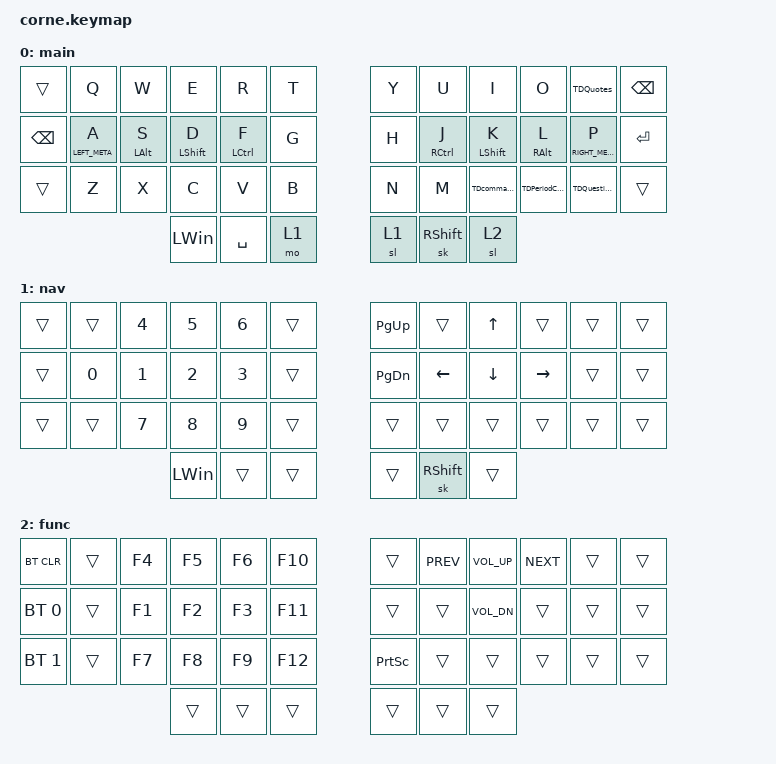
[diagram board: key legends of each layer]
/*
 * Copyright 2024 Michał Minarowski (@n3oney)
 * 
 * Originally created for QMK by Mark Stosberg (@markstos)
 * 
 * SPDX-License-Identifier: GPL-2.0-or-later
 */

#include <dt-bindings/zmk/mouse.h>
#include <behaviors.dtsi>
#include <dt-bindings/zmk/bt.h>
#include <dt-bindings/zmk/keys.h>

/ {
    combos {
        compatible = "zmk,combos";

        Backspace {
            bindings = <&kp BACKSPACE>;
            key-positions = <7 8>;
            require-prior-idle-ms = <150>;
            timeout-ms = <50>;
        };

        underscore {
            bindings = <&kp UNDER>;
            key-positions = <18 30>;
            require-prior-idle-ms = <150>;
            timeout-ms = <50>;
        };

        caret {
            bindings = <&kp CARET>;
            key-positions = <6 18>;
            require-prior-idle-ms = <150>;
            timeout-ms = <50>;
        };

        plus {
            bindings = <&kp PLUS>;
            key-positions = <7 19>;
            timeout-ms = <50>;
            require-prior-idle-ms = <150>;
        };

        minus {
            bindings = <&kp MINUS>;
            key-positions = <19 31>;
            timeout-ms = <50>;
            require-prior-idle-ms = <150>;
        };

        asterik {
            bindings = <&kp ASTERISK>;
            key-positions = <20 8>;
            timeout-ms = <50>;
            require-prior-idle-ms = <150>;
        };

        slash {
            bindings = <&kp SLASH>;
            key-positions = <20 32>;
            timeout-ms = <50>;
            require-prior-idle-ms = <150>;
        };

        ampersand {
            bindings = <&kp AMPERSAND>;
            key-positions = <9 21>;
            timeout-ms = <50>;
            require-prior-idle-ms = <150>;
        };

        vbar {
            bindings = <&kp PIPE>;
            key-positions = <22 34>;
            timeout-ms = <50>;
            require-prior-idle-ms = <150>;
        };

        LParLT {
            bindings = <&LParLT>;
            key-positions = <19 20>;
            timeout-ms = <50>;
            require-prior-idle-ms = <150>;
        };

        RParGT {
            bindings = <&RParGT>;
            key-positions = <20 21>;
            timeout-ms = <50>;
            require-prior-idle-ms = <150>;
        };

        LBrackets {
            bindings = <&LBrackets>;
            key-positions = <31 32>;
            timeout-ms = <50>;
            require-prior-idle-ms = <150>;
        };

        RBrackets {
            bindings = <&RBrackets>;
            key-positions = <33 32>;
            timeout-ms = <50>;
            require-prior-idle-ms = <150>;
        };

        Escape {
            bindings = <&kp ESCAPE>;
            key-positions = <8 9>;
            timeout-ms = <50>;
            require-prior-idle-ms = <150>;
        };

        Copy {
            bindings = <&kp LC(C)>;
            key-positions = <26 27>;
            timeout-ms = <50>;
            require-prior-idle-ms = <150>;
        };

        Paste {
            bindings = <&kp LC(V)>;
            key-positions = <27 28>;
            timeout-ms = <50>;
            require-prior-idle-ms = <150>;
        };

        Tab {
            bindings = <&kp TAB>;
            key-positions = <14 13>;
            timeout-ms = <50>;
            require-prior-idle-ms = <150>;
        };

        Cut {
            bindings = <&kp LC(X)>;
            key-positions = <28 26>;
            timeout-ms = <50>;
            require-prior-idle-ms = <150>;
        };

        at {
            bindings = <&kp AT>;
            key-positions = <2 14>;
            timeout-ms = <50>;
            require-prior-idle-ms = <150>;
        };

        tidal {
            bindings = <&kp TILDE>;
            key-positions = <29 17>;
            timeout-ms = <50>;
            require-prior-idle-ms = <150>;
        };

        percent {
            bindings = <&kp PERCENT>;
            key-positions = <17 5>;
            timeout-ms = <50>;
            require-prior-idle-ms = <150>;
        };

        dollar {
            bindings = <&kp DOLLAR>;
            key-positions = <4 16>;
            timeout-ms = <50>;
            require-prior-idle-ms = <150>;
        };

        equals {
            bindings = <&kp EQUAL>;
            key-positions = <16 28>;
            timeout-ms = <50>;
            require-prior-idle-ms = <150>;
        };

        hashtag {
            bindings = <&kp POUND>;
            key-positions = <3 15>;
            timeout-ms = <50>;
            require-prior-idle-ms = <150>;
        };

        backslash {
            bindings = <&kp BACKSLASH>;
            key-positions = <15 27>;
            timeout-ms = <50>;
            require-prior-idle-ms = <150>;
        };

        grave {
            bindings = <&kp GRAVE>;
            key-positions = <14 26>;
            timeout-ms = <50>;
            require-prior-idle-ms = <150>;
        };
    };

    behaviors {
        BetterWin: BetterWin {
            compatible = "zmk,behavior-tap-dance";
            label = "BETTERWIN";
            #binding-cells = <0>;
            bindings = <&sk LEFT_WIN>, <&kp LEFT_WIN>;
        };

        TDExplamQuest: TDExplamQuest {
            compatible = "zmk,behavior-tap-dance";
            label = "TDEXPLAMQUEST";
            #binding-cells = <0>;
            bindings = <&kp EXCL>, <&kp QUESTION>;
        };

        HRLeft: HRLeft {
            compatible = "zmk,behavior-hold-tap";
            label = "HRLEFT";
            bindings = <&kp>, <&kp>;

            #binding-cells = <2>;
            tapping-term-ms = <280>;
            quick-tap-ms = <175>;
            require-prior-idle-ms = <150>;
            flavor = "balanced";
            hold-trigger-key-positions = <39 40 41 30 18 6 7 19 31 32 20 8 9 10 11 21 22 23 33 34 35>;
            hold-trigger-on-release;
        };

        HRRight: HRRight {
            compatible = "zmk,behavior-hold-tap";
            label = "HRRIGHT";
            bindings = <&kp>, <&kp>;

            #binding-cells = <2>;
            tapping-term-ms = <280>;
            quick-tap-ms = <175>;
            require-prior-idle-ms = <150>;
            flavor = "balanced";
            hold-trigger-key-positions = <0 1 2 3 4 5 12 13 14 15 16 17 24 25 26 27 28 29 36 37 38>;
            hold-trigger-on-release;
        };

        LParLT: LParLT {
            compatible = "zmk,behavior-mod-morph";
            label = "LPARLT";
            bindings = <&kp LPAR>, <&kp LESS_THAN>;

            #binding-cells = <0>;
            mods = <(MOD_LSFT|MOD_RSFT)>;
        };

        RParGT: RParGT {
            compatible = "zmk,behavior-mod-morph";
            label = "RPARGT";
            bindings = <&kp RPAR>, <&kp GREATER_THAN>;

            #binding-cells = <0>;
            mods = <(MOD_LSFT|MOD_RSFT)>;
        };

        LBrackets: LBrackets {
            compatible = "zmk,behavior-mod-morph";
            label = "LBRACKETS";
            bindings = <&kp LEFT_BRACE>, <&kp LEFT_BRACKET>;

            #binding-cells = <0>;
            mods = <(MOD_LSFT|MOD_RSFT)>;
        };

        RBrackets: RBrackets {
            compatible = "zmk,behavior-mod-morph";
            label = "RBRACKETS";
            bindings = <&kp RIGHT_BRACE>, <&kp RIGHT_BRACKET>;

            #binding-cells = <0>;
            mods = <(MOD_LSFT|MOD_RSFT)>;
        };

        TDcommaSemiColon: TDcommaSemiColon {
            compatible = "zmk,behavior-tap-dance";
            label = "TDCOMMASEMICOLON";
            #binding-cells = <0>;
            bindings = <&kp COMMA>, <&kp SEMI>;

            tapping-term-ms = <400>;
        };

        TDPeriodColon: TDPeriodColon {
            compatible = "zmk,behavior-tap-dance";
            label = "TDPERIODCOLON";
            #binding-cells = <0>;
            bindings = <&kp PERIOD>, <&kp COLON>;

            tapping-term-ms = <400>;
        };

        TDQuestionExclam: TDQuestionExclam {
            compatible = "zmk,behavior-tap-dance";
            label = "TDQUESTIONEXCLAM";
            #binding-cells = <0>;
            bindings = <&kp QUESTION>, <&kp EXCL>;

            tapping-term-ms = <400>;
        };

        TDQuotes: TDQuotes {
            compatible = "zmk,behavior-tap-dance";
            label = "TDQUOTES";
            #binding-cells = <0>;
            bindings = <&kp DOUBLE_QUOTES>, <&kp SINGLE_QUOTE>;

            tapping-term-ms = <400>;
        };
    };

    keymap {
        compatible = "zmk,keymap";

        main {
            bindings = <
&trans         &kp Q                &kp W               &kp E                 &kp R                   &kp T    &kp Y  &kp U             &kp I                  &kp O            &TDQuotes              &kp BACKSPACE
&kp BACKSPACE  &HRLeft LEFT_META A  &HRLeft LEFT_ALT S  &HRLeft LEFT_SHIFT D  &HRLeft LEFT_CONTROL F  &kp G    &kp H  &HRRight RCTRL J  &HRRight LEFT_SHIFT K  &HRRight RALT L  &HRRight RIGHT_META P  &kp ENTER
&trans         &kp Z                &kp X               &kp C                 &kp V                   &kp B    &kp N  &kp M             &TDcommaSemiColon      &TDPeriodColon   &TDQuestionExclam      &trans
                                                        &kp LEFT_WIN          &kp SPACE               &mo 1    &sl 1  &sk RIGHT_SHIFT   &sl 2
            >;
        };

        nav {
            bindings = <
&trans  &trans  &kp NUMBER_4  &kp N5        &kp NUMBER_6  &trans    &kp PAGE_UP    &trans           &kp UP_ARROW    &trans     &trans  &trans
&trans  &kp N0  &kp NUMBER_1  &kp NUMBER_2  &kp NUMBER_3  &trans    &kp PAGE_DOWN  &kp LEFT         &kp DOWN_ARROW  &kp RIGHT  &trans  &trans
&trans  &trans  &kp N7        &kp N8        &kp N9        &trans    &trans         &trans           &trans          &trans     &trans  &trans
                              &kp LEFT_WIN  &trans        &trans    &trans         &sk RIGHT_SHIFT  &trans
            >;
        };

        func {
            bindings = <
&bt BT_CLR    &trans  &kp F4  &kp F5  &kp F6  &kp F10    &trans           &kp K_PREV  &kp C_VOLUME_UP  &kp K_NEXT  &trans  &trans
&bt BT_SEL 0  &trans  &kp F1  &kp F2  &kp F3  &kp F11    &trans           &trans      &kp C_VOL_DN     &trans      &trans  &trans
&bt BT_SEL 1  &trans  &kp F7  &kp F8  &kp F9  &kp F12    &kp PRINTSCREEN  &trans      &trans           &trans      &trans  &trans
                              &trans  &trans  &trans     &trans           &trans      &trans
            >;
        };
    };
};
